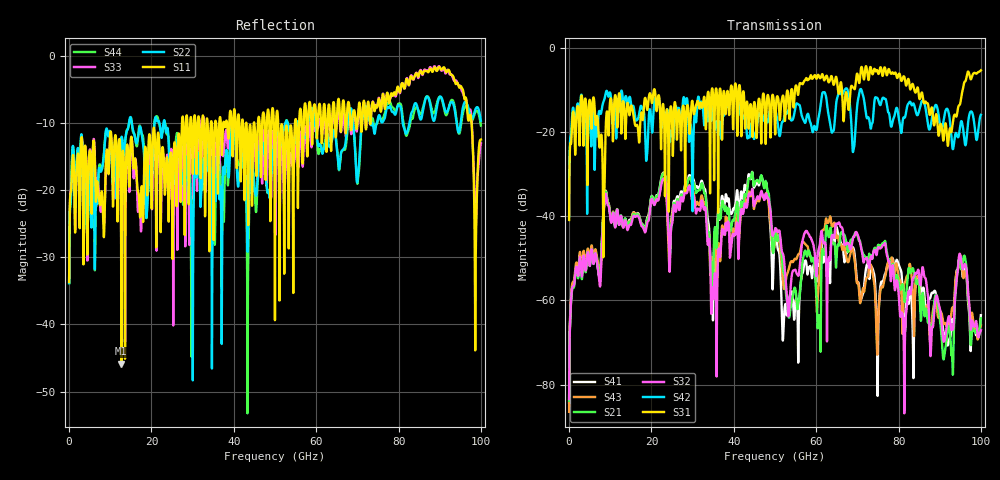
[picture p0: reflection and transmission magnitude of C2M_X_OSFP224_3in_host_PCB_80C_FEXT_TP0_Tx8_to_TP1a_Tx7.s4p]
# GHz S RI R 45
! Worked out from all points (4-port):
!   4000 points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, 25 MHz to 100 GHz, reference 45 ohm
!   strongest paths, dB at 25 MHz, 25.02 GHz, 50.02 GHz, 75.03 GHz, 100 GHz:
!     S31: -40.9, -17.8, -20.6, -6.0, -5.4
!     S42: -40.1, -20.8, -13.9, -12.3, -15.9
!     S32: -83.4, -41.8, -43.4, -47.5, -67.1
!     S21: -83.8, -41.3, -44.6, -46.9, -64.3
!     S43: -86.5, -39.9, -45.2, -66.5, -65.9
!     S41: -84.3, -39.4, -43.1, -70.2, -63.5
!   lowest |S11| = -45.9 dB at 12.7 GHz (marker M1), VSWR 1.01, Z = 45.4 + j0.242 ohm
!   |S11| at or under -10 dB: start of sweep to 27.44 GHz; 50.78 GHz to 54.86 GHz (4.086 GHz wide, 7.74 % of centre); 97.73 GHz to end of sweep (the widest 3 of 41)
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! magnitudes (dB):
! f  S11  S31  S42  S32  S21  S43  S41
! 25 MHz  -33.7  -40.9  -40.1  -83.4  -83.8  -86.5  -84.3
! 12.7 GHz  -45.9  -20.4  -10.2  -40.1  -40.0  -40.2  -40.3
! 35.45 GHz  -10.1  -12.7  -19.0  -53.7  -42.6  -46.0  -48.3
! 44.1 GHz  -11.0  -13.4  -18.5  -34.8  -30.8  -35.3  -31.2
! 52.12 GHz  -18.4  -12.2  -17.1  -49.8  -53.5  -57.0  -65.3
! 65.12 GHz  -8.3  -8.4  -11.9  -41.9  -47.5  -44.7  -43.3
! 100 GHz  -12.5  -5.4  -15.9  -67.1  -64.3  -65.9  -63.5
